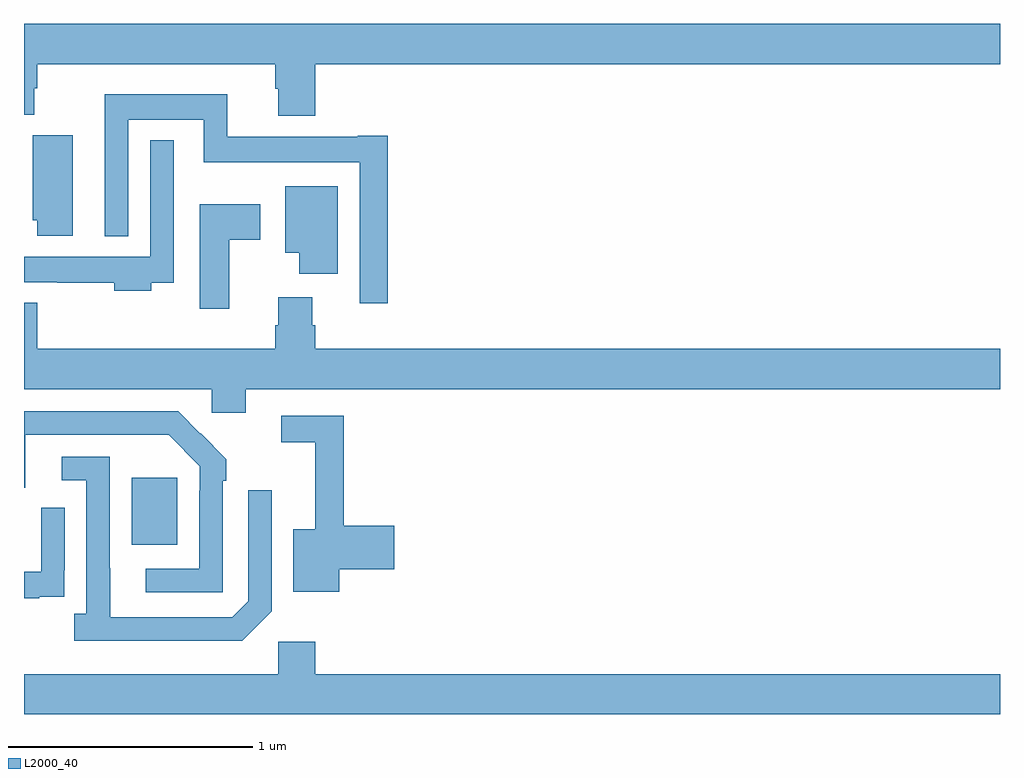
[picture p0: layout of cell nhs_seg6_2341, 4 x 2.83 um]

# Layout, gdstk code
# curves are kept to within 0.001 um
import gdstk
lib = gdstk.Library(unit=1e-6, precision=1e-09)
def R(c, l, rs):  # rectangles x0, y0, x1, y1
    for r in rs: c.add(gdstk.rectangle(r[:2], r[2:], *l))
def P(c, l, *ps):  # polygons
    for p in ps: c.add(gdstk.Polygon(p, *l))
L2000_40 = (2000, 40)

nhs_seg6_2341 = lib.new_cell('nhs_seg6_2341')
R(nhs_seg6_2341, L2000_40, [(251.441,946.697,251.629,946.972)])
P(nhs_seg6_2341, L2000_40, [(252.194,948.668),(255,948.668),(255,948.832),(251,948.832),(251,948.46),(251.041,948.46),(251.041,948.569),(251.054,948.569),(251.054,948.668),(252.029,948.668),(252.029,948.567),(252.041,948.567),(252.041,948.455),(252.194,948.455)],
  [(252.491,948.373),(252.368,948.373),(252.368,948.37),(251.834,948.37),(251.834,948.544),(251.33,948.544),(251.33,947.963),(251.427,947.963),(251.427,948.44),(251.736,948.44),(251.736,948.266),(252.375,948.266),(252.375,947.688),(252.491,947.688)],
  [(251.2,948.375),(251.036,948.375),(251.036,948.027),(251.054,948.027),(251.054,947.964),(251.2,947.964)],
  [(251.521,947.772),(251.613,947.772),(251.613,948.355),(251.517,948.355),(251.517,947.878),(251,947.878),(251,947.774),(251.137,947.774),(251.137,947.772),(251.369,947.772),(251.369,947.738),(251.521,947.738)],
  [(252.286,948.166),(252.071,948.166),(252.071,947.894),(252.128,947.894),(252.128,947.808),(252.286,947.808)],
  [(251.842,947.947),(251.968,947.947),(251.968,948.094),(251.72,948.094),(251.72,947.664),(251.842,947.664)],
  [(251.908,947.336),(255,947.336),(255,947.5),(252.194,947.5),(252.194,947.598),(252.181,947.598),(252.181,947.713),(252.041,947.713),(252.041,947.598),(252.029,947.598),(252.029,947.5),(251.054,947.5),(251.054,947.689),(251,947.689),(251,947.336),(251.769,947.336),(251.769,947.238),(251.908,947.238)],
  [(251.814,946.961),(251.829,946.961),(251.829,947.049),(251.632,947.244),(251,947.244),(251,946.932),(251.005,946.932),(251.005,947.148),(251.593,947.148),(251.721,947.019),(251.721,946.919),(251.718,946.919),(251.718,946.599),(251.499,946.599),(251.499,946.503),(251.814,946.503)],
  [(252.292,946.597),(252.517,946.597),(252.517,946.775),(252.311,946.775),(252.311,947.226),(252.054,947.226),(252.054,947.118),(252.194,947.118),(252.194,946.762),(252.104,946.762),(252.104,946.505),(252.292,946.505)],
  [(252.015,946.425),(252.015,946.921),(251.919,946.921),(251.919,946.467),(251.853,946.401),(251.353,946.401),(251.352,947.058),(251.154,947.058),(251.154,946.962),(251.256,946.962),(251.256,946.414),(251.205,946.414),(251.205,946.304),(251.894,946.304)],
  [(251.063,946.485),(251.165,946.485),(251.165,946.594),(251.166,946.594),(251.166,946.849),(251.07,946.849),(251.07,946.587),(251,946.587),(251,946.479),(251.063,946.479)],
  [(255,946.168),(252.194,946.168),(252.194,946.3),(252.042,946.3),(252.042,946.168),(251,946.168),(251,946.004),(255,946.004)])

lib.write_gds('nhs_seg6_2341.gds')
